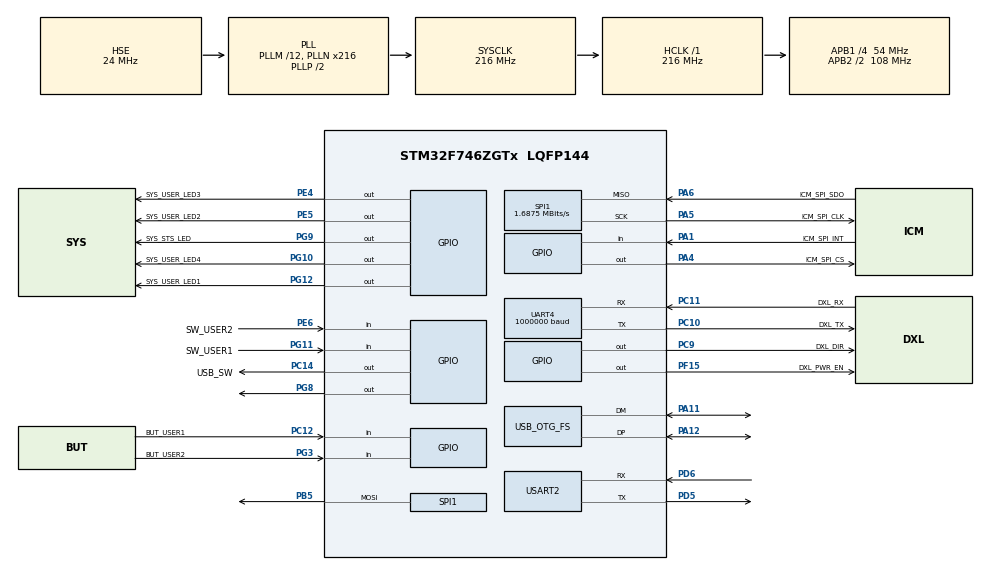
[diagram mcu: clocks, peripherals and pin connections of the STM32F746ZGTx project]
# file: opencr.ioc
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CORTEX_M7.default_mode_Activation=1
Mcu.Family=STM32F7
Mcu.Name=STM32F746ZGTx
Mcu.Package=LQFP144
NVIC.OTG_FS_IRQn=true\:0\:0\:false\:false\:true\:false\:true\:true
NVIC.PriorityGroup=NVIC_PRIORITYGROUP_4
NVIC.RCC_IRQn=true\:0\:0\:false\:false\:true\:true\:false\:true
NVIC.TIM3_IRQn=true\:0\:0\:false\:false\:true\:true\:true\:true
NVIC.UART4_IRQn=true\:0\:0\:false\:false\:true\:true\:true\:true
PA1.GPIO_Label=ICM_SPI_INT
PA1.GPIO_PuPd=GPIO_PULLUP
PA1.Signal=GPIO_Input
PA11.Mode=Device_Only
PA11.Signal=USB_OTG_FS_DM
PA12.Mode=Device_Only
PA12.Signal=USB_OTG_FS_DP
PA4.GPIO_Label=ICM_SPI_CS
PA4.PinState=GPIO_PIN_SET
PA4.Signal=GPIO_Output
PA5.GPIO_Label=ICM_SPI_CLK
PA5.Mode=Full_Duplex_Master
PA5.Signal=SPI1_SCK
PA6.GPIO_Label=ICM_SPI_SDO
PA6.Mode=Full_Duplex_Master
PA6.Signal=SPI1_MISO
PB5.Mode=Full_Duplex_Master
PB5.Signal=SPI1_MOSI
PC10.GPIO_Label=DXL_TX
PC10.Mode=Asynchronous
PC10.Signal=UART4_TX
PC11.GPIO_Label=DXL_RX
PC11.Mode=Asynchronous
PC11.Signal=UART4_RX
PC12.GPIO_Label=BUT_USER1
PC12.GPIO_PuPd=GPIO_PULLUP
PC12.Signal=GPIO_Input
PC14/OSC32_IN.GPIO_Label=USB_SW
PC14/OSC32_IN.Signal=GPIO_Output
PC9.GPIO_Label=DXL_DIR
PC9.Signal=GPIO_Output
PD5.Mode=Asynchronous
PD5.Signal=USART2_TX
PD6.Mode=Asynchronous
PD6.Signal=USART2_RX
PE4.GPIO_Label=SYS_USER_LED3
PE4.GPIO_PuPd=GPIO_NOPULL
PE4.Signal=GPIO_Output
PE5.GPIO_Label=SYS_USER_LED2
PE5.Signal=GPIO_Output
PE6.GPIO_Label=SW_USER2
PE6.Signal=GPIO_Input
PF15.GPIO_Label=DXL_PWR_EN
PF15.Signal=GPIO_Output
PG10.GPIO_Label=SYS_USER_LED4
PG10.Signal=GPIO_Output
PG11.GPIO_Label=SW_USER1
PG11.GPIO_PuPd=GPIO_PULLUP
PG11.Signal=GPIO_Input
PG12.GPIO_Label=SYS_USER_LED1
PG12.Signal=GPIO_Output
PG3.GPIO_Label=BUT_USER2
PG3.Signal=GPIO_Input
PG8.Signal=GPIO_Output
PG9.GPIO_Label=SYS_STS_LED
PG9.Signal=GPIO_Output
PH0/OSC_IN.Mode=HSE-External-Oscillator
PH0/OSC_IN.Signal=RCC_OSC_IN
PH1/OSC_OUT.Mode=HSE-External-Oscillator
PH1/OSC_OUT.Signal=RCC_OSC_OUT
ProjectManager.HeapSize=0x600
ProjectManager.StackSize=0x1000
ProjectManager.TargetToolchain=CMake
RCC.AHBFreq_Value=216000000
RCC.APB1CLKDivider=RCC_HCLK_DIV4
RCC.APB1Freq_Value=54000000
RCC.APB1TimFreq_Value=108000000
RCC.APB2CLKDivider=RCC_HCLK_DIV2
RCC.APB2Freq_Value=108000000
RCC.APB2TimFreq_Value=216000000
RCC.CortexFreq_Value=216000000
RCC.HCLKFreq_Value=216000000
RCC.HSE_VALUE=24000000
RCC.HSI_VALUE=16000000
RCC.LSE_VALUE=32768
RCC.PLLM=12
RCC.PLLN=216
RCC.PLLQ=9
RCC.SYSCLKFreq_VALUE=216000000
RCC.SYSCLKSource=RCC_SYSCLKSOURCE_PLLCLK
RCC.USBFreq_Value=48000000
RCC.VCOOutputFreq_Value=432000000
SPI1.BaudRatePrescaler=SPI_BAUDRATEPRESCALER_64
SPI1.CLKPhase=SPI_PHASE_2EDGE
SPI1.CLKPolarity=SPI_POLARITY_HIGH
SPI1.CalculateBaudRate=1.6875 MBits/s
SPI1.DataSize=SPI_DATASIZE_8BIT
SPI1.Direction=SPI_DIRECTION_2LINES
SPI1.Mode=SPI_MODE_MASTER
SPI1.VirtualType=VM_MASTER
TIM3.Period=100-1
TIM3.Prescaler=1080-1
UART4.BaudRate=1000000
USART2.VirtualMode-Asynchronous=VM_ASYNC
USB_DEVICE.CLASS_NAME_FS=CDC
USB_DEVICE.VirtualMode-CDC_FS=Cdc
USB_DEVICE.VirtualModeFS=Cdc_FS
USB_OTG_FS.VirtualMode=Device_Only
VP_TIM3_VS_ClockSourceINT.Mode=Internal
VP_USB_DEVICE_VS_USB_DEVICE_CDC_FS.Mode=CDC_FS
board=custom

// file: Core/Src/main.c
/* USER CODE BEGIN Header */
/**
  ******************************************************************************
  * @file           : main.c
  * @brief          : Main program body
  ******************************************************************************
  * @attention
  *
  * Copyright (c) 2026 STMicroelectronics.
  * All rights reserved.
  *
  * This software is licensed under terms that can be found in the LICENSE file
  * in the root directory of this software component.
  * If no LICENSE file comes with this software, it is provided AS-IS.
  *
  ******************************************************************************
  */
/* USER CODE END Header */
#include "main.h"
#include "usb_device.h"

/* USER CODE BEGIN Includes */
#include "dynamixel.h"
#include "usbd_cdc_if.h"
#include <string.h>
#include <stdlib.h>
#include <stdio.h>
/* USER CODE END Includes */

SPI_HandleTypeDef hspi1;

TIM_HandleTypeDef htim3;

UART_HandleTypeDef huart4;
UART_HandleTypeDef huart2;

/* USER CODE BEGIN PV */
uint32_t last_tick = 0;
int8_t motor_state = 0; // 0: STOP, 1: FORWARD, 2: BACKWARD
uint8_t btn1_prev = 1;
uint8_t btn2_prev = 1;
uint16_t btn1_cnt = 0;
uint16_t btn2_cnt = 0;
uint32_t led_cnt = 0;

float goal_linear_vel = 0.0f;
float goal_angular_vel = 0.0f;

int32_t present_pos_l = 0;
int32_t present_pos_r = 0;
uint32_t odom_tick = 0;
volatile uint8_t req_odom_read = 0;
uint32_t last_hb_tick = 0;

#define WHEEL_SEPARATION    0.160f  // m (160mm)
#define WHEEL_RADIUS        0.033f  // m (33mm)
#define DXL_VEL_UNIT_RPM    0.229f  // 1 unit = 0.229 rpm
#define PI                  3.14159265f
/* USER CODE END PV */

void SystemClock_Config(void);
static void MPU_Config(void);
static void MX_GPIO_Init(void);
static void MX_UART4_Init(void);
static void MX_SPI1_Init(void);
static void MX_TIM3_Init(void);
static void MX_USART2_UART_Init(void);

int main(void)
{

  /* MPU Configuration--------------------------------------------------------*/
  MPU_Config();

  /* MCU Configuration--------------------------------------------------------*/

  /* Reset of all peripherals, Initializes the Flash interface and the Systick. */
  HAL_Init();

  /* Configure the system clock */
  SystemClock_Config();

  /* Initialize all configured peripherals */
  MX_GPIO_Init();
  MX_UART4_Init();
  MX_SPI1_Init();
  MX_TIM3_Init();
  MX_USART2_UART_Init();
  MX_USB_DEVICE_Init();
  /* USER CODE BEGIN 2 */
  DXL_Init();
  HAL_Delay(1000); // Wait for motors to boot

  // 1. Disable Torque first to change mode
  DXL_WriteByte(0xFE, DXL_ADDR_TORQUE_ENABLE, 0);
  HAL_Delay(50);

  // 2. Set Operating Mode to Velocity Control (1)
  DXL_WriteByte(0xFE, DXL_ADDR_OPERATING_MODE, 1);
  HAL_Delay(50);

  // 3. Set Status Return Level to 1 (Respond only to READ)
  DXL_WriteByte(1, 68, 1);
  HAL_Delay(20);
  DXL_WriteByte(2, 68, 1);
  HAL_Delay(20);

  // 4. Enable Torque
  DXL_WriteByte(1, DXL_ADDR_TORQUE_ENABLE, 1);
  HAL_Delay(20);
  DXL_WriteByte(2, DXL_ADDR_TORQUE_ENABLE, 1);
  HAL_Delay(20);

  // Initial Stop
  DXL_WriteWord(0xFE, DXL_ADDR_GOAL_VELOCITY, 0);

  HAL_TIM_Base_Start_IT(&htim3);
  /* USER CODE END 2 */

  /* Infinite loop */
  /* USER CODE BEGIN WHILE */
  while (1)
  {
    int16_t res = CDC_ReadChar();
    if (res != -1) {
      static char cmd_buf[64];
      static int buf_idx = 0;

      if (res == '\n' || res == '\r') {
        if (buf_idx > 0) {
          cmd_buf[buf_idx] = '\0';
          if (cmd_buf[0] == 'V') {
            HAL_GPIO_TogglePin(GPIOE, SYS_USER_LED2_Pin);
            char *comma = strchr(cmd_buf, ',');
            if (comma) {
              *comma = '\0';
              goal_linear_vel = atof(&cmd_buf[1]);
              char *a_char = strchr(comma + 1, 'A');
              if (a_char) goal_angular_vel = atof(a_char + 1);
              else goal_angular_vel = atof(comma + 1);
            }
          }
        }
        buf_idx = 0;
      } else {
        if (buf_idx < 63) cmd_buf[buf_idx++] = (char)res;
      }
    }

    // 1. Heartbeat (Removed for production)
    /*
    if (HAL_GetTick() - last_hb_tick >= 1000) {
      last_hb_tick = HAL_GetTick();
      CDC_Print("H\n");
    }
    */

    // 2. Process Odometry Read Request (Safe outside of ISR)
    if (req_odom_read) {
        req_odom_read = 0;
        uint32_t raw_l = 0, raw_r = 0;

        HAL_NVIC_DisableIRQ(TIM3_IRQn);
        HAL_StatusTypeDef r1 = DXL_ReadWord(1, DXL_ADDR_PRESENT_POSITION, &raw_l);
        HAL_StatusTypeDef r2 = DXL_ReadWord(2, DXL_ADDR_PRESENT_POSITION, &raw_r);
        HAL_NVIC_EnableIRQ(TIM3_IRQn);

        if (r1 == HAL_OK && r2 == HAL_OK) {
            present_pos_l = (int32_t)raw_l;
            present_pos_r = (int32_t)raw_r;
            CDC_Print("O%ld,%ld\n", present_pos_l, present_pos_r);
        }
    }
    /* USER CODE END WHILE */

  }
}

void SystemClock_Config(void)
{
  RCC_OscInitTypeDef RCC_OscInitStruct = {0};
  RCC_ClkInitTypeDef RCC_ClkInitStruct = {0};

  /** Configure the main internal regulator output voltage
  */
  __HAL_RCC_PWR_CLK_ENABLE();
  __HAL_PWR_VOLTAGESCALING_CONFIG(PWR_REGULATOR_VOLTAGE_SCALE1);

  /** Initializes the RCC Oscillators according to the specified parameters
  * in the RCC_OscInitTypeDef structure.
  */
  RCC_OscInitStruct.OscillatorType = RCC_OSCILLATORTYPE_HSE;
  RCC_OscInitStruct.HSEState = RCC_HSE_ON;
  RCC_OscInitStruct.PLL.PLLState = RCC_PLL_ON;
  RCC_OscInitStruct.PLL.PLLSource = RCC_PLLSOURCE_HSE;
  RCC_OscInitStruct.PLL.PLLM = 12;
  RCC_OscInitStruct.PLL.PLLN = 216;
  RCC_OscInitStruct.PLL.PLLP = RCC_PLLP_DIV2;
  RCC_OscInitStruct.PLL.PLLQ = 9;
  if (HAL_RCC_OscConfig(&RCC_OscInitStruct) != HAL_OK)
  {
    Error_Handler();
  }

  /** Activate the Over-Drive mode
  */
  if (HAL_PWREx_EnableOverDrive() != HAL_OK)
  {
    Error_Handler();
  }

  /** Initializes the CPU, AHB and APB buses clocks
  */
  RCC_ClkInitStruct.ClockType = RCC_CLOCKTYPE_HCLK|RCC_CLOCKTYPE_SYSCLK
                              |RCC_CLOCKTYPE_PCLK1|RCC_CLOCKTYPE_PCLK2;
  RCC_ClkInitStruct.SYSCLKSource = RCC_SYSCLKSOURCE_PLLCLK;
  RCC_ClkInitStruct.AHBCLKDivider = RCC_SYSCLK_DIV1;
  RCC_ClkInitStruct.APB1CLKDivider = RCC_HCLK_DIV4;
  RCC_ClkInitStruct.APB2CLKDivider = RCC_HCLK_DIV2;

  if (HAL_RCC_ClockConfig(&RCC_ClkInitStruct, FLASH_LATENCY_7) != HAL_OK)
  {
    Error_Handler();
  }
}

static void MX_SPI1_Init(void)
{

  /* SPI1 parameter configuration*/
  hspi1.Instance = SPI1;
  hspi1.Init.Mode = SPI_MODE_MASTER;
  hspi1.Init.Direction = SPI_DIRECTION_2LINES;
  hspi1.Init.DataSize = SPI_DATASIZE_8BIT;
  hspi1.Init.CLKPolarity = SPI_POLARITY_HIGH;
  hspi1.Init.CLKPhase = SPI_PHASE_2EDGE;
  hspi1.Init.NSS = SPI_NSS_SOFT;
  hspi1.Init.BaudRatePrescaler = SPI_BAUDRATEPRESCALER_64;
  hspi1.Init.FirstBit = SPI_FIRSTBIT_MSB;
  hspi1.Init.TIMode = SPI_TIMODE_DISABLE;
  hspi1.Init.CRCCalculation = SPI_CRCCALCULATION_DISABLE;
  hspi1.Init.CRCPolynomial = 7;
  hspi1.Init.CRCLength = SPI_CRC_LENGTH_DATASIZE;
  hspi1.Init.NSSPMode = SPI_NSS_PULSE_DISABLE;
  if (HAL_SPI_Init(&hspi1) != HAL_OK)
  {
    Error_Handler();
  }

}

static void MX_TIM3_Init(void)
{

  TIM_ClockConfigTypeDef sClockSourceConfig = {0};
  TIM_MasterConfigTypeDef sMasterConfig = {0};

  htim3.Instance = TIM3;
  htim3.Init.Prescaler = 1080-1;
  htim3.Init.CounterMode = TIM_COUNTERMODE_UP;
  htim3.Init.Period = 1000-1;
  htim3.Init.ClockDivision = TIM_CLOCKDIVISION_DIV1;
  htim3.Init.AutoReloadPreload = TIM_AUTORELOAD_PRELOAD_DISABLE;
  if (HAL_TIM_Base_Init(&htim3) != HAL_OK)
  {
    Error_Handler();
  }
  sClockSourceConfig.ClockSource = TIM_CLOCKSOURCE_INTERNAL;
  if (HAL_TIM_ConfigClockSource(&htim3, &sClockSourceConfig) != HAL_OK)
  {
    Error_Handler();
  }
  sMasterConfig.MasterOutputTrigger = TIM_TRGO_RESET;
  sMasterConfig.MasterSlaveMode = TIM_MASTERSLAVEMODE_DISABLE;
  if (HAL_TIMEx_MasterConfigSynchronization(&htim3, &sMasterConfig) != HAL_OK)
  {
    Error_Handler();
  }

}

static void MX_UART4_Init(void)
{

  huart4.Instance = UART4;
  huart4.Init.BaudRate = 1000000;
  huart4.Init.WordLength = UART_WORDLENGTH_8B;
  huart4.Init.StopBits = UART_STOPBITS_1;
  huart4.Init.Parity = UART_PARITY_NONE;
  huart4.Init.Mode = UART_MODE_TX_RX;
  huart4.Init.HwFlowCtl = UART_HWCONTROL_NONE;
  huart4.Init.OverSampling = UART_OVERSAMPLING_16;
  huart4.Init.OneBitSampling = UART_ONE_BIT_SAMPLE_DISABLE;
  huart4.AdvancedInit.AdvFeatureInit = UART_ADVFEATURE_NO_INIT;
  if (HAL_UART_Init(&huart4) != HAL_OK)
  {
    Error_Handler();
  }

}

static void MX_USART2_UART_Init(void)
{

  huart2.Instance = USART2;
  huart2.Init.BaudRate = 115200;
  huart2.Init.WordLength = UART_WORDLENGTH_8B;
  huart2.Init.StopBits = UART_STOPBITS_1;
  huart2.Init.Parity = UART_PARITY_NONE;
  huart2.Init.Mode = UART_MODE_TX_RX;
  huart2.Init.HwFlowCtl = UART_HWCONTROL_NONE;
  huart2.Init.OverSampling = UART_OVERSAMPLING_16;
  huart2.Init.OneBitSampling = UART_ONE_BIT_SAMPLE_DISABLE;
  huart2.AdvancedInit.AdvFeatureInit = UART_ADVFEATURE_NO_INIT;
  if (HAL_UART_Init(&huart2) != HAL_OK)
  {
    Error_Handler();
  }

}

static void MX_GPIO_Init(void)
{
  GPIO_InitTypeDef GPIO_InitStruct = {0};

  /* GPIO Ports Clock Enable */
  __HAL_RCC_GPIOE_CLK_ENABLE();
  __HAL_RCC_GPIOC_CLK_ENABLE();
  __HAL_RCC_GPIOH_CLK_ENABLE();
  __HAL_RCC_GPIOA_CLK_ENABLE();
  __HAL_RCC_GPIOF_CLK_ENABLE();
  __HAL_RCC_GPIOG_CLK_ENABLE();
  __HAL_RCC_GPIOD_CLK_ENABLE();
  __HAL_RCC_GPIOB_CLK_ENABLE();

  /*Configure GPIO pin Output Level */
  HAL_GPIO_WritePin(GPIOE, SYS_USER_LED3_Pin|SYS_USER_LED2_Pin, GPIO_PIN_RESET);

  /*Configure GPIO pin Output Level */
  HAL_GPIO_WritePin(GPIOC, USB_SW_Pin|DXL_DIR_Pin, GPIO_PIN_RESET);

  /*Configure GPIO pin Output Level */
  HAL_GPIO_WritePin(ICM_SPI_CS_GPIO_Port, ICM_SPI_CS_Pin, GPIO_PIN_SET);

  /*Configure GPIO pin Output Level */
  HAL_GPIO_WritePin(DXL_PWR_EN_GPIO_Port, DXL_PWR_EN_Pin, GPIO_PIN_RESET);

  /*Configure GPIO pin Output Level */
  HAL_GPIO_WritePin(GPIOG, GPIO_PIN_8|SYS_STS_LED_Pin|SYS_USER_LED4_Pin|SYS_USER_LED1_Pin, GPIO_PIN_RESET);

  /*Configure GPIO pins : SYS_USER_LED3_Pin SYS_USER_LED2_Pin */
  GPIO_InitStruct.Pin = SYS_USER_LED3_Pin|SYS_USER_LED2_Pin;
  GPIO_InitStruct.Mode = GPIO_MODE_OUTPUT_PP;
  GPIO_InitStruct.Pull = GPIO_NOPULL;
  GPIO_InitStruct.Speed = GPIO_SPEED_FREQ_LOW;
  HAL_GPIO_Init(GPIOE, &GPIO_InitStruct);

  /*Configure GPIO pin : SW_USER2_Pin */
  GPIO_InitStruct.Pin = SW_USER2_Pin;
  GPIO_InitStruct.Mode = GPIO_MODE_INPUT;
  GPIO_InitStruct.Pull = GPIO_NOPULL;
  HAL_GPIO_Init(SW_USER2_GPIO_Port, &GPIO_InitStruct);

  /*Configure GPIO pins : USB_SW_Pin DXL_DIR_Pin */
  GPIO_InitStruct.Pin = USB_SW_Pin|DXL_DIR_Pin;
  GPIO_InitStruct.Mode = GPIO_MODE_OUTPUT_PP;
  GPIO_InitStruct.Pull = GPIO_NOPULL;
  GPIO_InitStruct.Speed = GPIO_SPEED_FREQ_VERY_HIGH;
  HAL_GPIO_Init(GPIOC, &GPIO_InitStruct);

  /*Configure GPIO pin : ICM_SPI_INT_Pin */
  GPIO_InitStruct.Pin = ICM_SPI_INT_Pin;
  GPIO_InitStruct.Mode = GPIO_MODE_INPUT;
  GPIO_InitStruct.Pull = GPIO_PULLUP;
  HAL_GPIO_Init(ICM_SPI_INT_GPIO_Port, &GPIO_InitStruct);

  /*Configure GPIO pin : ICM_SPI_CS_Pin */
  GPIO_InitStruct.Pin = ICM_SPI_CS_Pin;
  GPIO_InitStruct.Mode = GPIO_MODE_OUTPUT_PP;
  GPIO_InitStruct.Pull = GPIO_NOPULL;
  GPIO_InitStruct.Speed = GPIO_SPEED_FREQ_LOW;
  HAL_GPIO_Init(ICM_SPI_CS_GPIO_Port, &GPIO_InitStruct);

  /*Configure GPIO pin : DXL_PWR_EN_Pin */
  GPIO_InitStruct.Pin = DXL_PWR_EN_Pin;
  GPIO_InitStruct.Mode = GPIO_MODE_OUTPUT_PP;
  GPIO_InitStruct.Pull = GPIO_NOPULL;
  GPIO_InitStruct.Speed = GPIO_SPEED_FREQ_LOW;
  HAL_GPIO_Init(DXL_PWR_EN_GPIO_Port, &GPIO_InitStruct);

  /*Configure GPIO pin : BUT_USER2_Pin */
  GPIO_InitStruct.Pin = BUT_USER2_Pin;
  GPIO_InitStruct.Mode = GPIO_MODE_INPUT;
  GPIO_InitStruct.Pull = GPIO_NOPULL;
  HAL_GPIO_Init(BUT_USER2_GPIO_Port, &GPIO_InitStruct);

  /*Configure GPIO pins : PG8 SYS_STS_LED_Pin SYS_USER_LED4_Pin SYS_USER_LED1_Pin */
  GPIO_InitStruct.Pin = GPIO_PIN_8|SYS_STS_LED_Pin|SYS_USER_LED4_Pin|SYS_USER_LED1_Pin;
  GPIO_InitStruct.Mode = GPIO_MODE_OUTPUT_PP;
  GPIO_InitStruct.Pull = GPIO_NOPULL;
  GPIO_InitStruct.Speed = GPIO_SPEED_FREQ_LOW;
  HAL_GPIO_Init(GPIOG, &GPIO_InitStruct);

  /*Configure GPIO pin : BUT_USER1_Pin */
  GPIO_InitStruct.Pin = BUT_USER1_Pin;
  GPIO_InitStruct.Mode = GPIO_MODE_INPUT;
  GPIO_InitStruct.Pull = GPIO_PULLUP;
  HAL_GPIO_Init(BUT_USER1_GPIO_Port, &GPIO_InitStruct);

  /*Configure GPIO pin : SW_USER1_Pin */
  GPIO_InitStruct.Pin = SW_USER1_Pin;
  GPIO_InitStruct.Mode = GPIO_MODE_INPUT;
  GPIO_InitStruct.Pull = GPIO_PULLUP;
  HAL_GPIO_Init(SW_USER1_GPIO_Port, &GPIO_InitStruct);

}

/* USER CODE BEGIN 4 */
void HAL_TIM_PeriodElapsedCallback(TIM_HandleTypeDef *htim)
{
  if(htim->Instance == TIM3)
  {
    // --- 1. Mobile Robot Kinematics (Differential Drive) ---
    float v_l = goal_linear_vel - (goal_angular_vel * WHEEL_SEPARATION / 2.0f);
    float v_r = goal_linear_vel + (goal_angular_vel * WHEEL_SEPARATION / 2.0f);

    float rpm_l = (v_l / WHEEL_RADIUS) * (60.0f / (2.0f * PI));
    float rpm_r = (v_r / WHEEL_RADIUS) * (60.0f / (2.0f * PI));

    int32_t dxl_vel_l = (int32_t)(rpm_l / DXL_VEL_UNIT_RPM);
    int32_t dxl_vel_r = (int32_t)(rpm_r / DXL_VEL_UNIT_RPM);

    // Apply motor commands (Correct signs for your specific mounting)
    // ID 1 (Left): Negated to fix reverse rotation
    DXL_WriteWord(1, DXL_ADDR_GOAL_VELOCITY, (uint32_t)-dxl_vel_l);
    DXL_WriteWord(2, DXL_ADDR_GOAL_VELOCITY, (uint32_t)-dxl_vel_r);

    // --- 2. Odometry Feedback Request (20Hz) ---
    if (++odom_tick >= 5) {
      odom_tick = 0;
      req_odom_read = 1; // Flag main loop to perform the read safely
    }

    // --- 3. Button 1 Debouncing & Logic (Safety Stop) ---
    uint8_t btn1 = HAL_GPIO_ReadPin(BUT_USER1_GPIO_Port, BUT_USER1_Pin);
    if (btn1 == GPIO_PIN_RESET) {
      if (btn1_cnt < 5) btn1_cnt++;
      if (btn1_cnt == 5 && btn1_prev == GPIO_PIN_SET) {
        goal_linear_vel = 0;
        goal_angular_vel = 0;
        btn1_prev = GPIO_PIN_RESET;
      }
    } else {
      btn1_cnt = 0;
      btn1_prev = GPIO_PIN_SET;
    }

    // --- 3. LED Toggling ---
    if (++led_cnt >= 50) {
      led_cnt = 0;
      HAL_GPIO_TogglePin(SYS_USER_LED1_GPIO_Port, SYS_USER_LED1_Pin);
    }
  }
}
/* USER CODE END 4 */

void Error_Handler(void)
{
  __disable_irq();
  while (1)
  {
  }
}

void MPU_Config(void)
{
  MPU_Region_InitTypeDef MPU_InitStruct = {0};
  HAL_MPU_Disable();
  MPU_InitStruct.Enable = MPU_REGION_ENABLE;
  MPU_InitStruct.Number = MPU_REGION_NUMBER0;
  MPU_InitStruct.BaseAddress = 0x0;
  MPU_InitStruct.Size = MPU_REGION_SIZE_4GB;
  MPU_InitStruct.SubRegionDisable = 0x87;
  MPU_InitStruct.TypeExtField = MPU_TEX_LEVEL0;
  MPU_InitStruct.AccessPermission = MPU_REGION_NO_ACCESS;
  MPU_InitStruct.DisableExec = MPU_INSTRUCTION_ACCESS_DISABLE;
  MPU_InitStruct.IsShareable = MPU_ACCESS_SHAREABLE;
  MPU_InitStruct.IsCacheable = MPU_ACCESS_NOT_CACHEABLE;
  MPU_InitStruct.IsBufferable = MPU_ACCESS_NOT_BUFFERABLE;
  HAL_MPU_ConfigRegion(&MPU_InitStruct);
  HAL_MPU_Enable(MPU_PRIVILEGED_DEFAULT);
}
